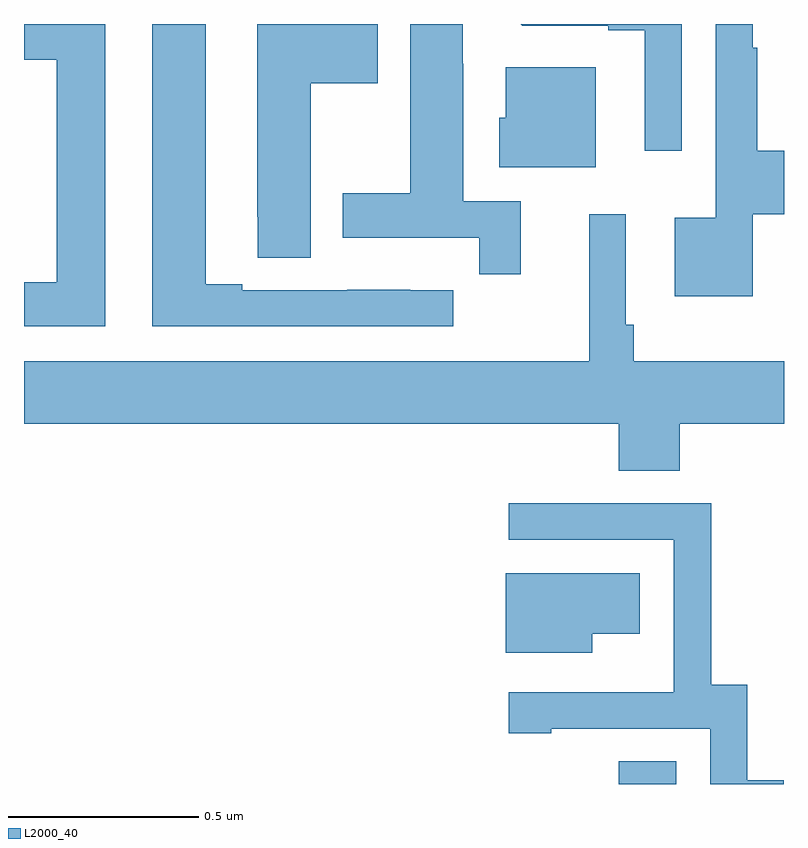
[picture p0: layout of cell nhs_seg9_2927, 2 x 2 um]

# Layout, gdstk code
import gdstk
lib = gdstk.Library(unit=1e-6, precision=1e-09)
def R(c, l, rs):  # rectangles x0, y0, x1, y1
    for r in rs: c.add(gdstk.rectangle(r[:2], r[2:], *l))
def P(c, l, *ps):  # polygons
    for p in ps: c.add(gdstk.Polygon(p, *l))
L2000_40 = (2000, 40)

nhs_seg9_2927 = lib.new_cell('nhs_seg9_2927')
R(nhs_seg9_2927, L2000_40, [(148.565,1167.5,148.717,1167.56)])
P(nhs_seg9_2927, L2000_40, [(147.214,1169.5),(147,1169.5),(147,1169.406),(147.086,1169.406),(147.086,1168.82),(147,1168.82),(147,1168.704),(147.214,1168.704)],
  [(148.307,1169.034),(148.156,1169.034),(148.156,1169.396),(148.155,1169.396),(148.155,1169.5),(148.016,1169.5),(148.016,1169.055),(147.839,1169.055),(147.839,1168.938),(148.198,1168.938),(148.198,1168.842),(148.307,1168.842)],
  [(148.918,1169),(149,1169),(149,1169.166),(148.93,1169.166),(148.93,1169.438),(148.918,1169.438),(148.918,1169.5),(148.821,1169.5),(148.821,1168.99),(148.712,1168.99),(148.712,1168.784),(148.918,1168.784)],
  [(147.754,1169.344),(147.931,1169.344),(147.931,1169.5),(147.614,1169.5),(147.614,1168.993),(147.615,1168.993),(147.615,1168.885),(147.754,1168.885)],
  [(148.129,1168.8),(148.016,1168.8),(148.016,1168.801),(147.85,1168.801),(147.85,1168.8),(147.574,1168.8),(147.574,1168.815),(147.478,1168.815),(147.478,1169.5),(147.338,1169.5),(147.338,1168.704),(148.129,1168.704)],
  [(148.731,1169.5),(148.307,1169.5),(148.311,1169.496),(148.538,1169.496),(148.538,1169.484),(148.634,1169.484),(148.634,1169.166),(148.731,1169.166)],
  [(148.504,1169.386),(148.268,1169.386),(148.268,1169.253),(148.25,1169.253),(148.25,1169.123),(148.504,1169.123)],
  [(148.725,1168.448),(149,1168.448),(149,1168.612),(148.604,1168.612),(148.604,1168.708),(148.584,1168.708),(148.584,1168.999),(148.487,1168.999),(148.487,1168.612),(147,1168.612),(147,1168.448),(148.565,1168.448),(148.565,1168.324),(148.725,1168.324)],
  [(148.999,1167.51),(148.903,1167.51),(148.903,1167.761),(148.809,1167.761),(148.809,1168.239),(148.275,1168.239),(148.275,1168.143),(148.71,1168.143),(148.71,1167.742),(148.709,1167.742),(148.709,1167.741),(148.275,1167.741),(148.275,1167.633),(148.387,1167.633),(148.387,1167.645),(148.806,1167.645),(148.806,1167.5),(148.999,1167.5)],
  [(148.495,1167.896),(148.621,1167.896),(148.621,1168.054),(148.268,1168.054),(148.268,1167.845),(148.495,1167.845)])

lib.write_gds('nhs_seg9_2927.gds')
